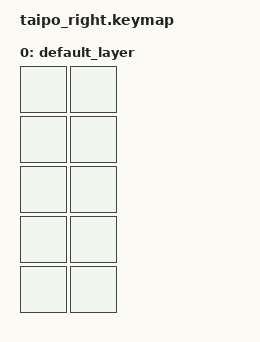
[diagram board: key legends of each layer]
/*
 * Copyright (c) 2020 The ZMK Contributors
 *
 * SPDX-License-Identifier: MIT
 */

#include <behaviors.dtsi>
#include <dt-bindings/zmk/bt.h>
#include <dt-bindings/zmk/keys.h>
#include <dt-bindings/zmk/outputs.h>

// CONFIG
#define COMBO_TIMEOUT 70
#define COMBO_LAYERS 0
#define STICKY_TIMEOUT 500

// RIGHT HAND — 10-key direct GPIO

#define TRP 0  // pinky upper
#define BRP 1  // pinky lower

#define TRR 2  // ring upper
#define BRR 3  // ring lower

#define TRM 4  // middle upper
#define BRM 5  // middle lower

#define TRI 6  // index upper
#define BRI 7  // index lower

#define ROT 8  // thumb upper
#define RIT 9  // thumb lower

&sk {
    release-after-ms = <STICKY_TIMEOUT>;
    quick-release;
};

/ {
  combos {
    compatible = "zmk,combos";
    #include "taipo.dtsi"
  };

  keymap {
    compatible = "zmk,keymap";

    default_layer {
        bindings = <
            &none  &none
            &none  &none
            &none  &none
            &none  &none
            &none  &none
        >;
    };

  };
};
